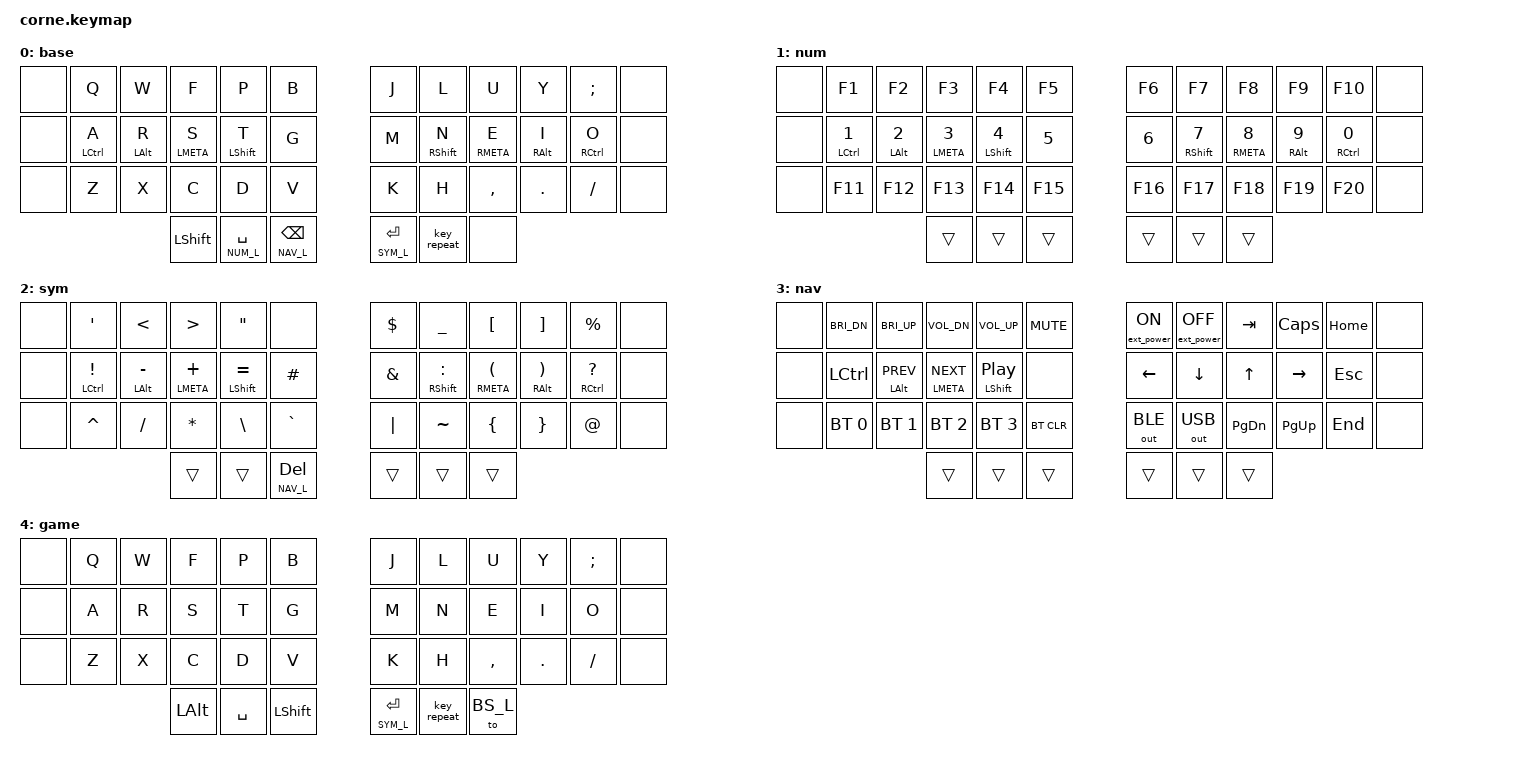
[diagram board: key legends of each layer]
#include <behaviors.dtsi>
#include <dt-bindings/zmk/keys.h>
#include <dt-bindings/zmk/bt.h>
#include <dt-bindings/zmk/outputs.h>
#include <dt-bindings/zmk/ext_power.h>

#define MACRO_PLACEHOLDER 0

// variables
#define HOLD_MS       1000  // time after which hold action is activated
#define TAP_DANCE_MS  1000  // max time between tap-dance taps

// layers
#define BS_L  0
#define NUM_L 1
#define SYM_L 2
#define NAV_L 3
#define GAM_L 4

// redefines
#define BRIUP C_BRI_UP
#define BRIDN C_BRI_DN
#define VOLUP C_VOL_UP
#define VOLDN C_VOL_DN
#define VMUTE C_MUTE

/ {
    behaviors {
        dummy: dummy {
            compatible = "zmk,behavior-tap-dance";
            #binding-cells = <0>;
            tapping-term-ms = <1>;
            bindings = <&none>, <&none>;
        };

        layer_sticky: layer_sticky {
            compatible = "zmk,behavior-hold-tap";
            #binding-cells = <2>;
            flavor = "hold-preferred";
            tapping-term-ms = <HOLD_MS>;
            bindings = <&sl>, <&mo>;
        };

        hrm: home_row_mod {
            compatible = "zmk,behavior-hold-tap";
            #binding-cells = <2>;
            flavor = "balanced";
            tapping-term-ms = <HOLD_MS>;
            bindings = <&kp>, <&kp>;
        };

        lp: layer_key_press {
            compatible = "zmk,behavior-hold-tap";
            #binding-cells = <2>;
            flavor = "balanced";
            tapping-term-ms = <HOLD_MS>;
            bindings = <&mo>, <&kp>;
        };

        ll: layer_layer_press {
            compatible = "zmk,behavior-hold-tap";
            #binding-cells = <2>;
            flavor = "balanced";
            tapping-term-ms = <HOLD_MS>;
            bindings = <&mo>, <&to>;
        };

        hth: hold_tap_hold_preferred {
            compatible = "zmk,behavior-hold-tap";
            #binding-cells = <2>;
            flavor = "hold-preferred";
            tapping-term-ms = <HOLD_MS>;
            bindings = <&kp>, <&kp>;
        };
    };

    macros {
        lc: lcontrol_hrm {
            compatible = "zmk,behavior-macro-one-param";
            #binding-cells = <1>;
            bindings = <&macro_param_1to2>, <&hrm LCTRL MACRO_PLACEHOLDER>;
        };
        la: lalt_hrm {
            compatible = "zmk,behavior-macro-one-param";
            #binding-cells = <1>;
            bindings = <&macro_param_1to2>, <&hrm LALT MACRO_PLACEHOLDER>;
        };
        lm: lmeta_hrm {
            compatible = "zmk,behavior-macro-one-param";
            #binding-cells = <1>;
            bindings = <&macro_param_1to2>, <&hrm LMETA MACRO_PLACEHOLDER>;
        };
        ls: lshift_hrm {
            compatible = "zmk,behavior-macro-one-param";
            #binding-cells = <1>;
            bindings = <&macro_param_1to2>, <&hrm LSHFT MACRO_PLACEHOLDER>;
        };
        rc: rcontrol_hrm {
            compatible = "zmk,behavior-macro-one-param";
            #binding-cells = <1>;
            bindings = <&macro_param_1to2>, <&hrm RCTRL MACRO_PLACEHOLDER>;
        };
        ra: ralt_hrm {
            compatible = "zmk,behavior-macro-one-param";
            #binding-cells = <1>;
            bindings = <&macro_param_1to2>, <&hrm RALT MACRO_PLACEHOLDER>;
        };
        rm: rmeta_hrm {
            compatible = "zmk,behavior-macro-one-param";
            #binding-cells = <1>;
            bindings = <&macro_param_1to2>, <&hrm RMETA MACRO_PLACEHOLDER>;
        };
        rs: rshift_hrm {
            compatible = "zmk,behavior-macro-one-param";
            #binding-cells = <1>;
            bindings = <&macro_param_1to2>, <&hrm RSHFT MACRO_PLACEHOLDER>;
        };
    };

    combos {
        compatible = "zmk,combos";
        combo_bs_l {
            timeout-ms = <HOLD_MS>;
            key-positions = <39 40>;
            layers = <GAM_L>;
            bindings = <&to BS_L>;
        };
        combo_gam_l {
            timeout-ms = <HOLD_MS>;
            key-positions = <37 38>;
            layers = <BS_L>;
            bindings = <&to GAM_L>;
        };
    };

    keymap {
        // view with tabstop=18

        compatible = "zmk,keymap";

        base_layer {
            display-name = "base";
            bindings = <
&none	&kp Q	&kp W	&kp F	&kp P	&kp B		&kp J	&kp L	&kp U	&kp Y	&kp SEMI	&none
&none	&hrm LCTRL A	&hrm LALT R	&hrm LMETA S	&hrm LSHFT T	&kp G		&kp M	&hrm RSHFT N	&hrm RMETA E	&hrm RALT I	&hrm RCTRL O	&none
&none	&kp Z	&kp X	&kp C	&kp D	&kp V		&kp K	&kp H	&kp COMMA	&kp DOT	&kp FSLH	&none
			&kp LSHFT 	&lp NUM_L SPACE	&lp NAV_L BSPC		&lp SYM_L RET	&key_repeat	&none
            >;
        };

        num_layer {
            display-name = "num";
            bindings = <
&none	&kp F1	&kp F2	&kp F3	&kp F4	&kp F5		&kp F6	&kp F7	&kp F8	&kp F9	&kp F10	&none
&none	&hrm LCTRL N1	&hrm LALT N2	&hrm LMETA N3	&hrm LSHFT N4	&kp N5		&kp N6	&hrm RSHFT N7	&hrm RMETA N8	&hrm RALT N9	&hrm RCTRL N0	&none
&none	&kp F11	&kp F12	&kp F13	&kp F14	&kp F15		&kp F16	&kp F17	&kp F18	&kp F19	&kp F20	&none
			&trans	&trans	&trans		&trans	&trans	&trans
            >;
        };

        symbol_layer {
            display-name = "sym";
            bindings = <
&none	&kp SQT	&kp LT 	&kp GT	&kp DQT	&none		&kp DLLR	&kp UNDER	&kp LBKT	&kp RBKT	&kp PRCNT	&none
&none	&hrm LCTRL EXCL	&hrm LALT MINUS	&hrm LMETA PLUS	&hrm LSHFT EQUAL	&kp POUND		&kp AMPS	&hrm RSHFT COLON	&hrm RMETA LPAR	&hrm RALT RPAR	&hrm RCTRL QMARK	&none
&none	&kp CARET	&kp FSLH	&kp STAR	&kp BSLH	&kp GRAVE		&kp PIPE	&kp TILDE	&kp LBRC	&kp RBRC	&kp AT	&none
			&trans	&trans	&lp NAV_L DEL		&trans	&trans	&trans
            >;
        };

        nav_layer {
            display-name = "nav";
            bindings = <
&none	&kp BRIDN	&kp BRIUP	&kp VOLDN	&kp VOLUP	&kp VMUTE		&ext_power EP_ON	&ext_power EP_OFF	&kp TAB	&kp CAPS	&kp HOME	&none
&none	&kp LCTRL	&hth LALT C_PREV	&hth LMETA C_NEXT	&hth LSHFT C_PP	&none		&kp LEFT	&kp DOWN	&kp UP	&kp RIGHT	&kp ESC	&none
&none	&bt BT_SEL 0	&bt BT_SEL 1	&bt BT_SEL 2	&bt BT_SEL 3	&bt BT_CLR		&out OUT_BLE	&out OUT_USB	&kp PG_DN	&kp PG_UP	&kp END	&none
			&trans	&trans	&trans		&trans	&trans	&trans
            >;
        };

        gaming_layer {
            display-name = "game";
            bindings = <
&none	&kp Q	&kp W	&kp F	&kp P	&kp B		&kp J	&kp L	&kp U	&kp Y	&kp SEMI	&none
&none	&kp A	&kp R	&kp S	&kp T	&kp G		&kp M	&kp N	&kp E	&kp I	&kp O	&none
&none	&kp Z	&kp X	&kp C	&kp D	&kp V		&kp K	&kp H	&kp COMMA	&kp DOT	&kp FSLH	&none
			&kp LALT	&kp SPACE	&kp LSHFT 		&lp SYM_L RET	&key_repeat	&to BS_L
            >;
        };
   };
};
